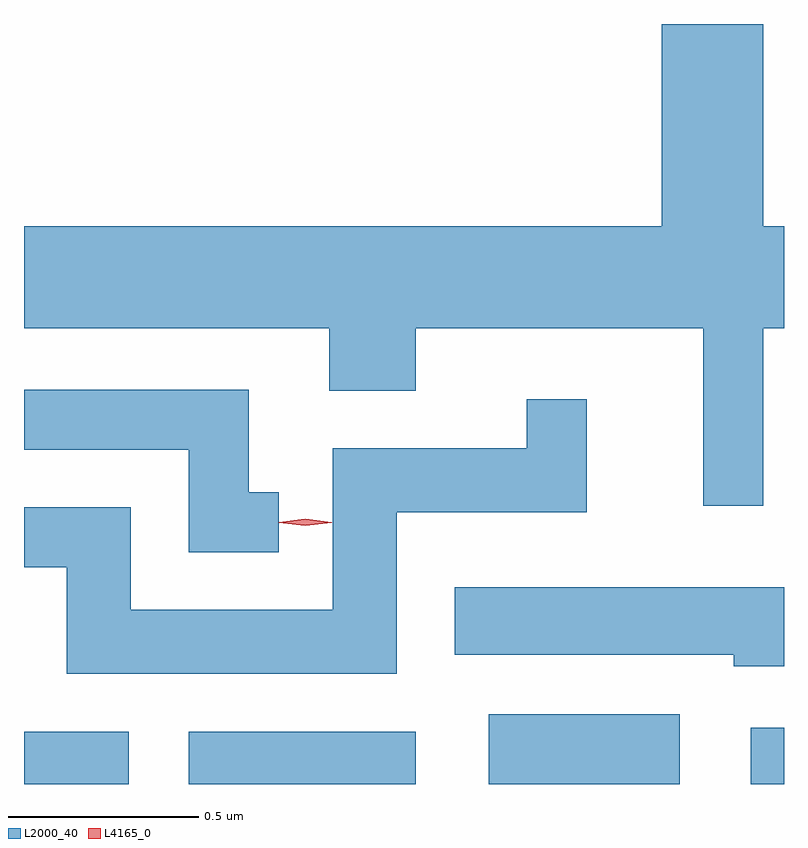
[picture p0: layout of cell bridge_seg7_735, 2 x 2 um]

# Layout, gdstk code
import gdstk
lib = gdstk.Library(unit=1e-6, precision=1e-09)
def R(c, l, rs):  # rectangles x0, y0, x1, y1
    for r in rs: c.add(gdstk.rectangle(r[:2], r[2:], *l))
def P(c, l, *ps):  # polygons
    for p in ps: c.add(gdstk.Polygon(p, *l))
L2000_40 = (2000, 40)
L4165_0 = (4165, 0)

bridge_seg7_735 = lib.new_cell('bridge_seg7_735')
R(bridge_seg7_735, L2000_40, [(553.058,1739.756,553.334,1739.894), (553.491,1739.756,554.089,1739.894), (554.281,1739.756,554.784,1739.939), (554.971,1739.756,555.058,1739.904)])
P(bridge_seg7_735, L2000_40, [(553.058,1740.956),(553.861,1740.956),(553.861,1740.791),(554.089,1740.791),(554.089,1740.956),(554.846,1740.956),(554.846,1740.488),(555.004,1740.488),(555.004,1740.956),(555.058,1740.956),(555.058,1741.224),(555.004,1741.224),(555.004,1741.756),(554.736,1741.756),(554.736,1741.224),(553.058,1741.224)],
  [(553.728,1740.524),(553.649,1740.524),(553.649,1740.794),(553.058,1740.794),(553.058,1740.636),(553.491,1740.636),(553.491,1740.366),(553.728,1740.366)],
  [(554.039,1740.471),(554.539,1740.471),(554.539,1740.768),(554.381,1740.768),(554.381,1740.639),(553.871,1740.639),(553.871,1740.214),(553.339,1740.214),(553.339,1740.484),(553.058,1740.484),(553.058,1740.326),(553.171,1740.326),(553.171,1740.046),(554.039,1740.046)],
  [(555.058,1740.274),(554.191,1740.274),(554.191,1740.096),(554.926,1740.096),(554.926,1740.066),(555.058,1740.066)])
P(bridge_seg7_735, L4165_0, [(553.798,1740.435),(553.729,1740.444),(553.729,1740.445),(553.729,1740.445),(553.798,1740.454),(553.868,1740.445),(553.868,1740.444),(553.868,1740.444)])

lib.write_gds('bridge_seg7_735.gds')
